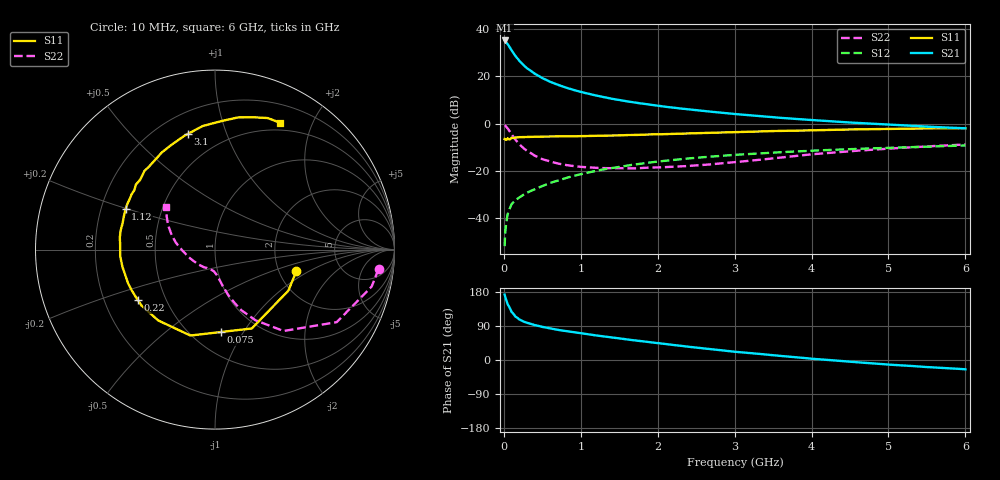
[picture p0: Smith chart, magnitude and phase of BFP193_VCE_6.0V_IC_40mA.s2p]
! Infineon Technologies  Discrete & RF Semiconductors
! BFP193
! VCE = 6.0 V,  IC =  40 mA
! Common Emitter S-Parameters:  Jan 2016
# GHz  S  MA  R  50
!  f  S11  S21  S12  S22
! GHz  MAG  ANG  MAG  ANG  MAG  ANG  MAG  ANG
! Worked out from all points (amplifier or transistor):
!   210 points, 10 MHz to 6 GHz, reference 50 ohm
!   highest |S21| = 35.2 dB at 10 MHz (marker M1)
!   |S21| within 3 dB of that: start of sweep to 77.36 MHz
!   unconditionally stable (mu >= 1): 630.1 MHz to 4.045 GHz
!   at 185 MHz: K = 0.63, MSG = 29.5 dB, |S12| = -31.7 dB
!   at 1.52 GHz: K = 1.07, MAG = 12.5 dB, |S12| = -18.3 dB
!   at 6 GHz: K = 0.94, MSG = 3.6 dB, |S12| = -9.3 dB
!   S11 on the Smith chart (normalised r, x): 10 MHz: 2.49, -0.77; 75 MHz: 0.69, -0.80; 220 MHz: 0.35, -0.27; 1.12 GHz: 0.31, +0.20; 3.1 GHz: 0.32, +0.74; 6 GHz: 0.41, +1.57
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0.01  0.4692 -14.9  57.78 172.5  0.0025 83.1  0.9176 -6.8
0.02  0.4684 -29.2  55.31 164.5  0.0053 81.6  0.8967 -13.3
0.05  0.4849 -65.0  48.35 146.8  0.012 67.5  0.7895 -30.8
0.075  0.4603 -85.8  41.5 138.3  0.0156 61.4  0.6817 -39.0
0.1  0.498 -106.0  35.88 126.9  0.0194 57.7  0.5927 -49.9
0.15  0.5059 -128.7  27.11 114.8  0.0238 54.7  0.454 -60.2
0.2  0.5147 -142.8  21.56 107.2  0.0268 54.5  0.3657 -66.7
0.22  0.5135 -146.7  19.96 105.3  0.0282 54.9  0.3405 -68.2
0.26  0.5164 -153.8  17.08 101.1  0.0311 55.8  0.2955 -71.3
0.3  0.5195 -158.8  14.93 98.0  0.0339 57.1  0.2645 -73.7
0.4  0.5243 -169.3  11.44 92.2  0.0403 58.9  0.2083 -77.9
0.5  0.5295 -176.0  9.181 87.4  0.0469 61.0  0.1754 -80.9
0.6  0.5285 177.7  7.701 83.4  0.0547 62.0  0.1559 -83.6
0.7  0.5345 172.8  6.645 79.6  0.0614 62.3  0.142 -86.1
1.02  0.5415 159.4  4.595 69.9  0.0855 61.7  0.1199 -93.9
1.12  0.5467 155.6  4.199 67.0  0.0929 61.0  0.1168 -96.9
1.6  0.5705 140.6  2.953 54.3  0.128 56.3  0.1123 -111.9
2.02  0.5908 128.5  2.357 44.2  0.1567 51.2  0.1172 -126.8
3.1  0.6624 103.1  1.542 20.1  0.2212 37.7  0.1566 -166.8
4.1  0.722 85.7  1.157 1.9  0.2695 25.7  0.2289 167.7
5.1  0.771 72.8  0.931 -13.3  0.3088 14.8  0.2998 151.1
6  0.795 62.7  0.791 -24.5  0.3417 5.3  0.3588 139.1
